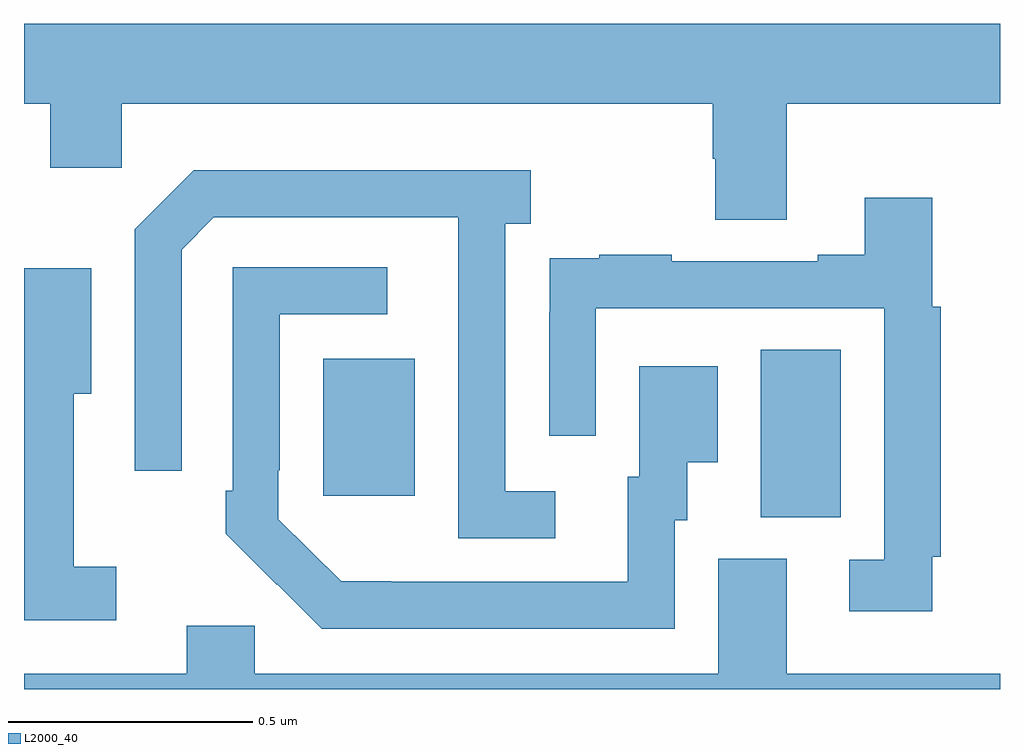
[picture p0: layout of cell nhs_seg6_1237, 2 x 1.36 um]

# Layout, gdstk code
import gdstk
lib = gdstk.Library(unit=1e-6, precision=1e-09)
def R(c, l, rs):  # rectangles x0, y0, x1, y1
    for r in rs: c.add(gdstk.rectangle(r[:2], r[2:], *l))
def P(c, l, *ps):  # polygons
    for p in ps: c.add(gdstk.Polygon(p, *l))
L2000_40 = (2000, 40)

nhs_seg6_1237 = lib.new_cell('nhs_seg6_1237')
R(nhs_seg6_1237, L2000_40, [(128.51,915.853,128.674,916.196), (127.613,915.897,127.801,916.177)])
P(nhs_seg6_1237, L2000_40, [(128.563,916.7),(129,916.7),(129,916.864),(127,916.864),(127,916.7),(127.054,916.7),(127.054,916.569),(127.2,916.569),(127.2,916.7),(128.411,916.7),(128.411,916.587),(128.416,916.587),(128.416,916.462),(128.563,916.462)],
  [(128.089,915.906),(127.986,915.906),(127.986,916.454),(128.038,916.454),(128.038,916.564),(127.348,916.564),(127.227,916.443),(127.227,915.948),(127.323,915.948),(127.323,916.401),(127.389,916.467),(127.89,916.467),(127.89,915.81),(128.089,915.81)],
  [(128.861,915.772),(128.879,915.772),(128.879,916.284),(128.861,916.284),(128.861,916.507),(128.723,916.507),(128.723,916.39),(128.627,916.39),(128.627,916.377),(128.327,916.377),(128.327,916.39),(128.179,916.39),(128.179,916.383),(128.077,916.383),(128.077,916.274),(128.076,916.274),(128.076,916.02),(128.172,916.02),(128.172,916.281),(128.763,916.281),(128.763,915.765),(128.691,915.765),(128.691,915.66),(128.861,915.66)],
  [(128.334,915.846),(128.359,915.846),(128.359,915.965),(128.422,915.965),(128.422,916.162),(128.261,916.162),(128.261,915.936),(128.237,915.936),(128.237,915.72),(127.753,915.72),(127.753,915.721),(127.65,915.721),(127.521,915.849),(127.521,915.949),(127.524,915.949),(127.524,916.269),(127.744,916.269),(127.744,916.365),(127.428,916.365),(127.428,915.907),(127.413,915.907),(127.413,915.819),(127.518,915.714),(127.519,915.715),(127.61,915.624),(128.334,915.624)],
  [(127.189,915.751),(127.102,915.751),(127.102,916.106),(127.138,916.106),(127.138,916.363),(127,916.363),(127,915.642),(127.189,915.642)],
  [(129,915.532),(128.563,915.532),(128.563,915.768),(128.423,915.768),(128.423,915.532),(127.473,915.532),(127.473,915.63),(127.334,915.63),(127.334,915.532),(127,915.532),(127,915.5),(129,915.5)])

lib.write_gds('nhs_seg6_1237.gds')
